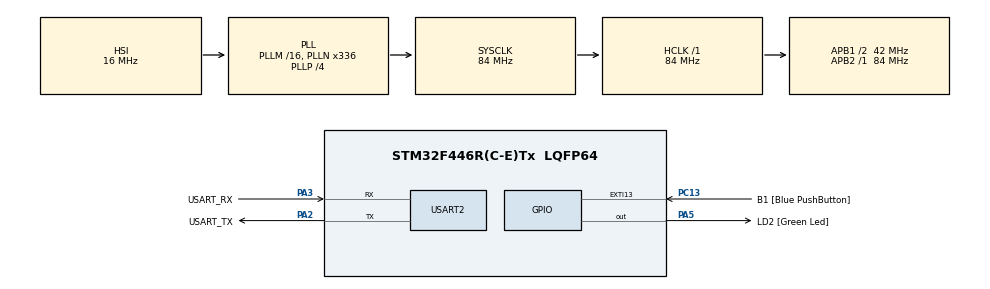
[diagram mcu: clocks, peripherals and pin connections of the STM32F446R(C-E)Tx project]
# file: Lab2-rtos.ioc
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ADC1.Channel-0\#ChannelRegularConversion=ADC_CHANNEL_TEMPSENSOR
ADC1.Channel-1\#ChannelRegularConversion=ADC_CHANNEL_TEMPSENSOR
ADC1.ClockPrescaler=ADC_CLOCK_SYNC_PCLK_DIV8
ADC1.ContinuousConvMode=ENABLE
ADC1.DMAContinuousRequests=ENABLE
ADC1.NbrOfConversion=2
ADC1.NbrOfConversionFlag=1
ADC1.Rank-0\#ChannelRegularConversion=1
ADC1.Rank-1\#ChannelRegularConversion=2
ADC1.SamplingTime-0\#ChannelRegularConversion=ADC_SAMPLETIME_480CYCLES
ADC1.SamplingTime-1\#ChannelRegularConversion=ADC_SAMPLETIME_480CYCLES
ADC1.ScanConvMode=ENABLE
ADC1.master=1
Dma.ADC1.0.Direction=DMA_PERIPH_TO_MEMORY
Dma.ADC1.0.FIFOMode=DMA_FIFOMODE_DISABLE
Dma.ADC1.0.Instance=DMA2_Stream0
Dma.ADC1.0.MemDataAlignment=DMA_MDATAALIGN_HALFWORD
Dma.ADC1.0.MemInc=DMA_MINC_ENABLE
Dma.ADC1.0.Mode=DMA_CIRCULAR
Dma.ADC1.0.PeriphDataAlignment=DMA_PDATAALIGN_HALFWORD
Dma.ADC1.0.PeriphInc=DMA_PINC_DISABLE
Dma.ADC1.0.Priority=DMA_PRIORITY_MEDIUM
Dma.Request0=ADC1
FREERTOS.Tasks01=blink01,0,128,StartBlink01,Default,NULL,Dynamic,NULL,NULL
FREERTOS.Timers01=periodicTimer,PTCallback,osTimerPeriodic,Default,NULL,Dynamic,NULL
FREERTOS.configTIMER_TASK_PRIORITY=6
FREERTOS.configUSE_NEWLIB_REENTRANT=1
FREERTOS.configUSE_TIMERS=0
Mcu.Family=STM32F4
Mcu.Name=STM32F446R(C-E)Tx
Mcu.Package=LQFP64
NVIC.DMA2_Stream0_IRQn=true\:5\:0\:false\:false\:true\:true\:false\:true\:true
NVIC.EXTI15_10_IRQn=true\:5\:0\:false\:false\:true\:true\:true\:true\:true
NVIC.PriorityGroup=NVIC_PRIORITYGROUP_4
NVIC.TIM1_UP_TIM10_IRQn=true\:15\:0\:false\:false\:true\:false\:false\:true\:true
NVIC.TIM2_IRQn=true\:5\:0\:false\:false\:true\:true\:true\:true\:true
NVIC.TimeBase=TIM1_UP_TIM10_IRQn
NVIC.TimeBaseIP=TIM1
PA13.GPIO_Label=TMS
PA13.Mode=Serial_Wire
PA13.Signal=SYS_JTMS-SWDIO
PA14.GPIO_Label=TCK
PA14.Mode=Serial_Wire
PA14.Signal=SYS_JTCK-SWCLK
PA2.GPIO_Label=USART_TX
PA2.Mode=Asynchronous
PA2.Signal=USART2_TX
PA3.GPIO_Label=USART_RX
PA3.Mode=Asynchronous
PA3.Signal=USART2_RX
PA5.GPIO_Label=LD2 [Green Led]
PA5.Signal=GPIO_Output
PB3.GPIO_Label=SWO
PB3.Signal=SYS_JTDO-SWO
PC13.GPIO_Label=B1 [Blue PushButton]
PC13.GPIO_ModeDefaultEXTI=GPIO_MODE_IT_FALLING
PC13.Signal=GPXTI13
PC14-OSC32_IN.Mode=LSE-External-Oscillator
PC14-OSC32_IN.Signal=RCC_OSC32_IN
PC15-OSC32_OUT.Mode=LSE-External-Oscillator
PC15-OSC32_OUT.Signal=RCC_OSC32_OUT
PH0-OSC_IN.Mode=HSE-External-Oscillator
PH0-OSC_IN.Signal=RCC_OSC_IN
PH1-OSC_OUT.Mode=HSE-External-Oscillator
PH1-OSC_OUT.Signal=RCC_OSC_OUT
ProjectManager.HeapSize=0x200
ProjectManager.StackSize=0x400
ProjectManager.TargetToolchain=STM32CubeIDE
RCC.48MHZClocksFreq_Value=84000000
RCC.AHBFreq_Value=84000000
RCC.APB1CLKDivider=RCC_HCLK_DIV2
RCC.APB1Freq_Value=42000000
RCC.APB1TimFreq_Value=84000000
RCC.APB2Freq_Value=84000000
RCC.APB2TimFreq_Value=84000000
RCC.CortexFreq_Value=84000000
RCC.FLatency-AdvancedSettings=FLASH_LATENCY_2
RCC.HCLKFreq_Value=84000000
RCC.HSE_VALUE=8000000
RCC.HSI_VALUE=16000000
RCC.PLLN=336
RCC.PLLP=RCC_PLLP_DIV4
RCC.SYSCLKFreq_VALUE=84000000
RCC.SYSCLKSource=RCC_SYSCLKSOURCE_PLLCLK
RCC.USBFreq_Value=168000000
RCC.VCOOutputFreq_Value=336000000
TIM2.Period=10000
TIM2.Prescaler=7999
USART2.VirtualMode=VM_ASYNC
VP_ADC1_TempSens_Input.Mode=IN-TempSens
VP_FREERTOS_VS_CMSIS_V1.Mode=CMSIS_V1
VP_SYS_VS_tim1.Mode=TIM1
VP_TIM2_VS_ClockSourceINT.Mode=Internal
board=NUCLEO-F446RE

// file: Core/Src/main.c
/* USER CODE BEGIN Header */
/**
  ******************************************************************************
  * @file           : main.c
  * @brief          : Main program body
  ******************************************************************************
  * @attention
  *
  * Copyright (c) 2023 STMicroelectronics.
  * All rights reserved.
  *
  * This software is licensed under terms that can be found in the LICENSE file
  * in the root directory of this software component.
  * If no LICENSE file comes with this software, it is provided AS-IS.
  *
  ******************************************************************************
  */
/* USER CODE END Header */
#include "main.h"
#include "cmsis_os.h"

/* USER CODE BEGIN Includes */

//Initialization of global varaibles neede for code to work.
//Default blinking frequency
uint16_t blink_freq = 10;
//default period of time - later automatically calculated basing on freq
uint16_t period = 50;
//varaible of button state, changed to tru only by IRQ
uint8_t button_pressed = 0;

float temperature = 0;
/* USER CODE END Includes */

ADC_HandleTypeDef hadc1;
DMA_HandleTypeDef hdma_adc1;

TIM_HandleTypeDef htim2;

UART_HandleTypeDef huart2;

osThreadId blink01Handle;
/* USER CODE BEGIN PV */
uint16_t buf_temp[2];
/* USER CODE END PV */

void SystemClock_Config(void);
static void MX_GPIO_Init(void);
static void MX_DMA_Init(void);
static void MX_USART2_UART_Init(void);
static void MX_ADC1_Init(void);
static void MX_TIM2_Init(void);
void StartBlink01(void const * argument);

int main(void)
{

  /* MCU Configuration--------------------------------------------------------*/

  /* Reset of all peripherals, Initializes the Flash interface and the Systick. */
  HAL_Init();

  /* Configure the system clock */
  SystemClock_Config();

  /* Initialize all configured peripherals */
  MX_GPIO_Init();
  MX_DMA_Init();
  MX_USART2_UART_Init();
  MX_ADC1_Init();
  MX_TIM2_Init();
  /* USER CODE BEGIN 2 */

  HAL_TIM_Base_Start_IT(&htim2);
  HAL_ADC_Start_DMA(&hadc1, buf_temp, 2);
  /* USER CODE END 2 */

  /* Create the thread(s) */
  /* definition and creation of blink01 */
  osThreadDef(blink01, StartBlink01, osPriorityNormal, 0, 128);
  blink01Handle = osThreadCreate(osThread(blink01), NULL);

  /* Start scheduler */
  osKernelStart();

  /* We should never get here as control is now taken by the scheduler */
  /* Infinite loop */
  while (1)
  {
  }
}

void SystemClock_Config(void)
{
  RCC_OscInitTypeDef RCC_OscInitStruct = {0};
  RCC_ClkInitTypeDef RCC_ClkInitStruct = {0};

  /** Configure the main internal regulator output voltage
  */
  __HAL_RCC_PWR_CLK_ENABLE();
  __HAL_PWR_VOLTAGESCALING_CONFIG(PWR_REGULATOR_VOLTAGE_SCALE3);

  /** Initializes the RCC Oscillators according to the specified parameters
  * in the RCC_OscInitTypeDef structure.
  */
  RCC_OscInitStruct.OscillatorType = RCC_OSCILLATORTYPE_HSI;
  RCC_OscInitStruct.HSIState = RCC_HSI_ON;
  RCC_OscInitStruct.HSICalibrationValue = RCC_HSICALIBRATION_DEFAULT;
  RCC_OscInitStruct.PLL.PLLState = RCC_PLL_ON;
  RCC_OscInitStruct.PLL.PLLSource = RCC_PLLSOURCE_HSI;
  RCC_OscInitStruct.PLL.PLLM = 16;
  RCC_OscInitStruct.PLL.PLLN = 336;
  RCC_OscInitStruct.PLL.PLLP = RCC_PLLP_DIV4;
  RCC_OscInitStruct.PLL.PLLQ = 2;
  RCC_OscInitStruct.PLL.PLLR = 2;
  if (HAL_RCC_OscConfig(&RCC_OscInitStruct) != HAL_OK)
  {
    Error_Handler();
  }

  /** Initializes the CPU, AHB and APB buses clocks
  */
  RCC_ClkInitStruct.ClockType = RCC_CLOCKTYPE_HCLK|RCC_CLOCKTYPE_SYSCLK
                              |RCC_CLOCKTYPE_PCLK1|RCC_CLOCKTYPE_PCLK2;
  RCC_ClkInitStruct.SYSCLKSource = RCC_SYSCLKSOURCE_PLLCLK;
  RCC_ClkInitStruct.AHBCLKDivider = RCC_SYSCLK_DIV1;
  RCC_ClkInitStruct.APB1CLKDivider = RCC_HCLK_DIV2;
  RCC_ClkInitStruct.APB2CLKDivider = RCC_HCLK_DIV1;

  if (HAL_RCC_ClockConfig(&RCC_ClkInitStruct, FLASH_LATENCY_2) != HAL_OK)
  {
    Error_Handler();
  }
}

static void MX_ADC1_Init(void)
{

  ADC_ChannelConfTypeDef sConfig = {0};

  /** Configure the global features of the ADC (Clock, Resolution, Data Alignment and number of conversion)
  */
  hadc1.Instance = ADC1;
  hadc1.Init.ClockPrescaler = ADC_CLOCK_SYNC_PCLK_DIV8;
  hadc1.Init.Resolution = ADC_RESOLUTION_12B;
  hadc1.Init.ScanConvMode = ENABLE;
  hadc1.Init.ContinuousConvMode = ENABLE;
  hadc1.Init.DiscontinuousConvMode = DISABLE;
  hadc1.Init.ExternalTrigConvEdge = ADC_EXTERNALTRIGCONVEDGE_NONE;
  hadc1.Init.ExternalTrigConv = ADC_SOFTWARE_START;
  hadc1.Init.DataAlign = ADC_DATAALIGN_RIGHT;
  hadc1.Init.NbrOfConversion = 2;
  hadc1.Init.DMAContinuousRequests = ENABLE;
  hadc1.Init.EOCSelection = ADC_EOC_SINGLE_CONV;
  if (HAL_ADC_Init(&hadc1) != HAL_OK)
  {
    Error_Handler();
  }

  /** Configure for the selected ADC regular channel its corresponding rank in the sequencer and its sample time.
  */
  sConfig.Channel = ADC_CHANNEL_TEMPSENSOR;
  sConfig.Rank = 1;
  sConfig.SamplingTime = ADC_SAMPLETIME_480CYCLES;
  if (HAL_ADC_ConfigChannel(&hadc1, &sConfig) != HAL_OK)
  {
    Error_Handler();
  }

  /** Configure for the selected ADC regular channel its corresponding rank in the sequencer and its sample time.
  */
  sConfig.Rank = 2;
  if (HAL_ADC_ConfigChannel(&hadc1, &sConfig) != HAL_OK)
  {
    Error_Handler();
  }

}

static void MX_TIM2_Init(void)
{

  TIM_ClockConfigTypeDef sClockSourceConfig = {0};
  TIM_MasterConfigTypeDef sMasterConfig = {0};

  htim2.Instance = TIM2;
  htim2.Init.Prescaler = 7999;
  htim2.Init.CounterMode = TIM_COUNTERMODE_UP;
  htim2.Init.Period = 10000;
  htim2.Init.ClockDivision = TIM_CLOCKDIVISION_DIV1;
  htim2.Init.AutoReloadPreload = TIM_AUTORELOAD_PRELOAD_DISABLE;
  if (HAL_TIM_Base_Init(&htim2) != HAL_OK)
  {
    Error_Handler();
  }
  sClockSourceConfig.ClockSource = TIM_CLOCKSOURCE_INTERNAL;
  if (HAL_TIM_ConfigClockSource(&htim2, &sClockSourceConfig) != HAL_OK)
  {
    Error_Handler();
  }
  sMasterConfig.MasterOutputTrigger = TIM_TRGO_RESET;
  sMasterConfig.MasterSlaveMode = TIM_MASTERSLAVEMODE_DISABLE;
  if (HAL_TIMEx_MasterConfigSynchronization(&htim2, &sMasterConfig) != HAL_OK)
  {
    Error_Handler();
  }

}

static void MX_USART2_UART_Init(void)
{

  huart2.Instance = USART2;
  huart2.Init.BaudRate = 115200;
  huart2.Init.WordLength = UART_WORDLENGTH_8B;
  huart2.Init.StopBits = UART_STOPBITS_1;
  huart2.Init.Parity = UART_PARITY_NONE;
  huart2.Init.Mode = UART_MODE_TX_RX;
  huart2.Init.HwFlowCtl = UART_HWCONTROL_NONE;
  huart2.Init.OverSampling = UART_OVERSAMPLING_16;
  if (HAL_UART_Init(&huart2) != HAL_OK)
  {
    Error_Handler();
  }

}

static void MX_DMA_Init(void)
{

  /* DMA controller clock enable */
  __HAL_RCC_DMA2_CLK_ENABLE();

  /* DMA interrupt init */
  /* DMA2_Stream0_IRQn interrupt configuration */
  HAL_NVIC_SetPriority(DMA2_Stream0_IRQn, 5, 0);
  HAL_NVIC_EnableIRQ(DMA2_Stream0_IRQn);

}

static void MX_GPIO_Init(void)
{
  GPIO_InitTypeDef GPIO_InitStruct = {0};

  /* GPIO Ports Clock Enable */
  __HAL_RCC_GPIOC_CLK_ENABLE();
  __HAL_RCC_GPIOH_CLK_ENABLE();
  __HAL_RCC_GPIOA_CLK_ENABLE();
  __HAL_RCC_GPIOB_CLK_ENABLE();

  /*Configure GPIO pin Output Level */
  HAL_GPIO_WritePin(LD2_GPIO_Port, LD2_Pin, GPIO_PIN_RESET);

  /*Configure GPIO pin : B1_Pin */
  GPIO_InitStruct.Pin = B1_Pin;
  GPIO_InitStruct.Mode = GPIO_MODE_IT_FALLING;
  GPIO_InitStruct.Pull = GPIO_NOPULL;
  HAL_GPIO_Init(B1_GPIO_Port, &GPIO_InitStruct);

  /*Configure GPIO pin : LD2_Pin */
  GPIO_InitStruct.Pin = LD2_Pin;
  GPIO_InitStruct.Mode = GPIO_MODE_OUTPUT_PP;
  GPIO_InitStruct.Pull = GPIO_NOPULL;
  GPIO_InitStruct.Speed = GPIO_SPEED_FREQ_LOW;
  HAL_GPIO_Init(LD2_GPIO_Port, &GPIO_InitStruct);

  /* EXTI interrupt init*/
  HAL_NVIC_SetPriority(EXTI15_10_IRQn, 5, 0);
  HAL_NVIC_EnableIRQ(EXTI15_10_IRQn);

}

/* USER CODE BEGIN 4 */
void HAL_GPIO_EXTI_Callback(uint16_t GPIO_Pin)
{
	//if callback was called by gpio pin corresponding to button varaible state will change
  if(GPIO_Pin == B1_Pin) {
	  button_pressed = 1;

  }
}
/* USER CODE END 4 */

void StartBlink01(void const * argument)
{
  /* USER CODE BEGIN 5 */

  /* Infinite loop */
  for(;;)
  {
	  //This code check if the temperature of microcotroller is above 22 celsius deegress
	  //if it is - it turns on green LED
	  //it can be easilly checked by touching microcontroller with finger to heat it up.
	  // value of temperature is get and calculated in the hardware timer IRQ
	  //HAL_ADC_PollForConversion(&hadc1, 1);
	 	  //uint16_t raw = HAL_ADC_GetValue(&hadc1);
	 	  //HAL_ADC_Stop(&hadc1);
	 float vsense = (3.3 * buf_temp[0] )/4095;
	 	  temperature = ((vsense) - 0.76)/(0.0025) + 25;

	  if(temperature > 22.0)
		  HAL_GPIO_WritePin(LD2_GPIO_Port, LD2_Pin,GPIO_PIN_SET);
	  else
		  HAL_GPIO_WritePin(LD2_GPIO_Port, LD2_Pin,GPIO_PIN_RESET);
	  // calculate period in loop to adjust when varaible blink_freq is changed.
	  //period = 1000/(blink_freq*2);
	  //toggle LED
float test = temperature;
	  // delay for rtos - when to call function next time. It does not block running of uC.
	  osDelay(1000);
  }
  osThreadTerminate(NULL);
  /* USER CODE END 5 */
}

void HAL_TIM_PeriodElapsedCallback(TIM_HandleTypeDef *htim)
{
  if (htim->Instance == TIM1) {
    HAL_IncTick();
  }
}

void Error_Handler(void)
{
  __disable_irq();
  while (1)
  {
  }
}
